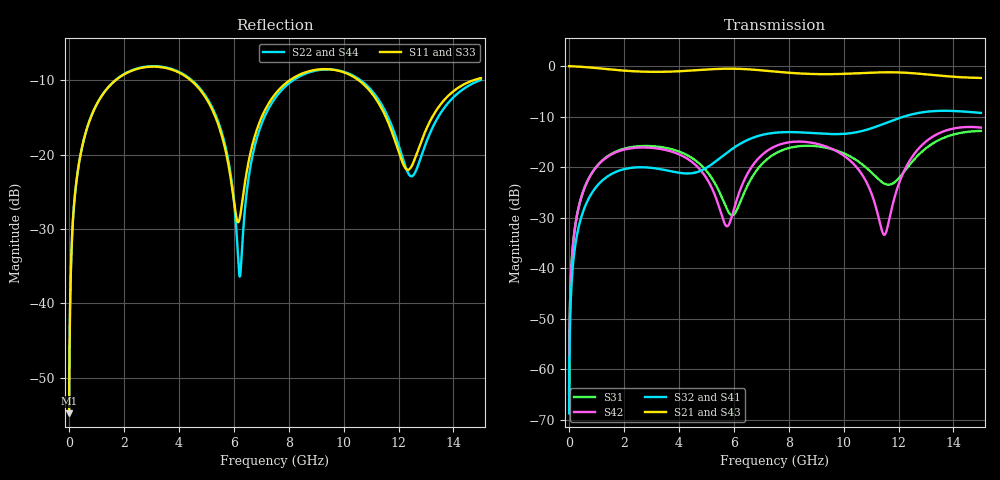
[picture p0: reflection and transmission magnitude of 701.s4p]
! Created with skrf 1.8.0 (http://scikit-rf.org).
# GHz S RI R 50.0
!freq ReS11 ImS11 ReS12 ImS12 ReS13 ImS13
! ReS14 ImS14
! ReS21 ImS21 ReS22 ImS22 ReS23 ImS23
! ReS24 ImS24
! ReS31 ImS31 ReS32 ImS32 ReS33 ImS33
! ReS34 ImS34
! ReS41 ImS41 ReS42 ImS42 ReS43 ImS43
! ReS44 ImS44
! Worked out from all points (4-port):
!   2499 points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, 5 MHz to 15 GHz, reference 50 ohm
!   strongest paths, dB at 5 MHz, 3.476 GHz, 7.19 GHz, 11.1 GHz, 15 GHz:
!     S21: 0.0, -1.1, -0.9, -1.3, -2.3
!     S43: 0.0, -1.1, -0.9, -1.3, -2.3
!     S32: -68.7, -20.5, -13.4, -12.1, -9.3
!     S41: -68.7, -20.5, -13.4, -12.1, -9.2
!     S42: -64.7, -16.5, -16.9, -26.5, -12.2
!     S31: -64.7, -16.1, -18.5, -21.5, -12.8
!   lowest |S11| = -54.8 dB at 5 MHz (marker M1), VSWR 1.00, Z = 50.1 + j0.11 ohm
!   |S11| at or under -10 dB: start of sweep to 1.693 GHz; 4.439 GHz to 8.037 GHz (3.598 GHz wide, 57.7 % of centre); 10.55 GHz to 14.72 GHz (4.162 GHz wide, 32.9 % of centre)
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0.005  0.00145 0.0011  0.9985 -0.00282  7.24e-05 0.000578  -7.03e-05 -0.000361
       0.9985 -0.00282  0.00145 0.0011  -7.03e-05 -0.000361  7.23e-05 0.000578
       7.24e-05 0.000578  -7.03e-05 -0.000361  0.00145 0.0011  0.9985 -0.00282
       -7.03e-05 -0.000361  7.23e-05 0.000578  0.9985 -0.00282  0.00145 0.0011
0.3126303  0.0195 0.0732  0.9734 -0.1764  0.00906 0.0347  -0.00735 -0.0216
           0.9734 -0.1764  0.0196 0.0732  -0.00735 -0.0216  0.00859 0.0348
           0.00906 0.0347  -0.00735 -0.0216  0.0195 0.0732  0.9734 -0.1764
           -0.00735 -0.0216  0.00859 0.0348  0.9734 -0.1764  0.0196 0.0732
1.569404  0.2349 0.1892  0.6196 -0.6852  0.1193 0.0666  -0.0845 -0.0174
          0.6196 -0.6852  0.2372 0.188  -0.0845 -0.0174  0.1123 0.0745
          0.1193 0.0666  -0.0845 -0.0174  0.235 0.1893  0.6195 -0.6852
          -0.0845 -0.0174  0.1123 0.0745  0.6195 -0.6852  0.2372 0.188
6.221342  0.0358 0.0118  -0.9376 -0.0505  -0.0235 0.0373  -0.00402 0.1694
          -0.9376 -0.0505  0.0151 -0.000443  -0.00467 0.1695  0.0372 0.045
          -0.0235 0.0373  -0.00467 0.1695  0.0339 0.0102  -0.9376 -0.0506
          -0.00402 0.1694  0.0372 0.045  -0.9376 -0.0506  0.0171 -0.0019
9.635265  0.3702 -0.0424  0.0146 0.8331  0.117 -0.0928  0.2032 -0.061
          0.0146 0.8331  0.3716 -0.0298  0.2038 -0.0607  0.1227 -0.0847
          0.117 -0.0928  0.2038 -0.0607  0.3704 -0.0394  0.0158 0.833
          0.2032 -0.061  0.1227 -0.0847  0.0158 0.833  0.3715 -0.0341
11.48604  0.1369 -0.1287  0.6936 0.5228  -0.06 -0.0337  0.158 -0.2192
          0.6936 0.5228  0.1428 -0.1414  0.1584 -0.219  -0.021 -0.00418
          -0.06 -0.0337  0.1584 -0.219  0.1404 -0.1283  0.6942 0.5213
          0.158 -0.2192  -0.021 -0.00418  0.6942 0.5213  0.1409 -0.1454
15  0.3249 0.0388  0.3628 -0.6718  0.2259 -0.0334  -0.3364 -0.0758
    0.3628 -0.6718  0.3121 0.0609  -0.3356 -0.0773  0.2446 -0.029
    0.2259 -0.0334  -0.3356 -0.0773  0.3224 0.0355  0.3601 -0.6746
    -0.3364 -0.0758  0.2446 -0.029  0.3601 -0.6746  0.3084 0.058
